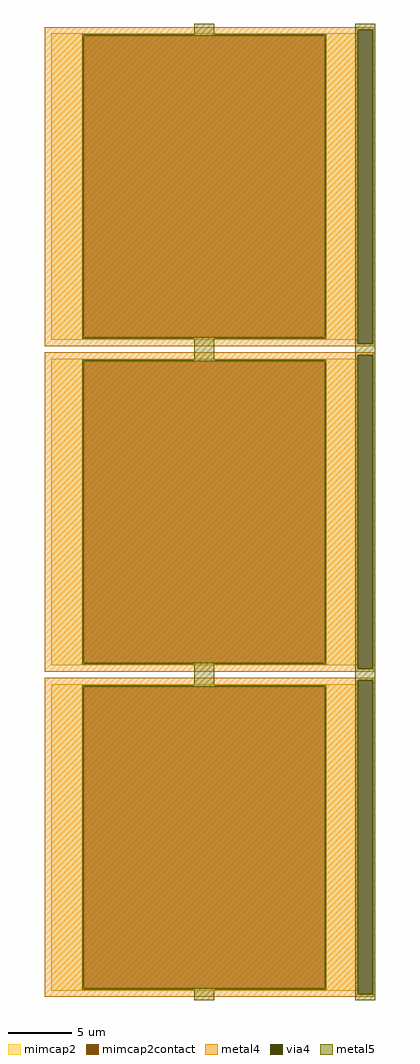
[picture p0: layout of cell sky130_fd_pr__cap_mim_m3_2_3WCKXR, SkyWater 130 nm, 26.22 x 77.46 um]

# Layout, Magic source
magic
tech sky130A
magscale 1 2
<< metal4 >>
rect -2611 7655 2611 7696
rect -2611 2673 2355 7655
rect 2591 2673 2611 7655
rect -2611 2632 2611 2673
rect -2611 2491 2611 2532
rect -2611 -2491 2355 2491
rect 2591 -2491 2611 2491
rect -2611 -2532 2611 -2491
rect -2611 -2673 2611 -2632
rect -2611 -7655 2355 -2673
rect 2591 -7655 2611 -2673
rect -2611 -7696 2611 -7655
<< via4 >>
rect 2355 2673 2591 7655
rect 2355 -2491 2591 2491
rect 2355 -7655 2591 -2673
<< mimcap2 >>
rect -2511 7556 2353 7596
rect -2511 2772 -1993 7556
rect 1835 2772 2353 7556
rect -2511 2732 2353 2772
rect -2511 2392 2353 2432
rect -2511 -2392 -1993 2392
rect 1835 -2392 2353 2392
rect -2511 -2432 2353 -2392
rect -2511 -2772 2353 -2732
rect -2511 -7556 -1993 -2772
rect 1835 -7556 2353 -2772
rect -2511 -7596 2353 -7556
<< mimcap2contact >>
rect -1993 2772 1835 7556
rect -1993 -2392 1835 2392
rect -1993 -7556 1835 -2772
<< metal5 >>
rect -239 7580 81 7746
rect 2313 7655 2633 7746
rect -2017 7556 1859 7580
rect -2017 2772 -1993 7556
rect 1835 2772 1859 7556
rect -2017 2748 1859 2772
rect -239 2416 81 2748
rect 2313 2673 2355 7655
rect 2591 2673 2633 7655
rect 2313 2491 2633 2673
rect -2017 2392 1859 2416
rect -2017 -2392 -1993 2392
rect 1835 -2392 1859 2392
rect -2017 -2416 1859 -2392
rect -239 -2748 81 -2416
rect 2313 -2491 2355 2491
rect 2591 -2491 2633 2491
rect 2313 -2673 2633 -2491
rect -2017 -2772 1859 -2748
rect -2017 -7556 -1993 -2772
rect 1835 -7556 1859 -2772
rect -2017 -7580 1859 -7556
rect -239 -7746 81 -7580
rect 2313 -7655 2355 -2673
rect 2591 -7655 2633 -2673
rect 2313 -7746 2633 -7655
<< properties >>
string FIXED_BBOX -2611 2632 2453 7696
string gencell sky130_fd_pr__cap_mim_m3_2
string library sky130
string parameters w 24.315 l 24.315 val 1.2k carea 2.00 cperi 0.19 nx 1 ny 3 dummy 0 square 0 lmin 2.00 wmin 2.00 lmax 30.0 wmax 30.0 dc 0 bconnect 1 tconnect 1 ccov 80
<< end >>
